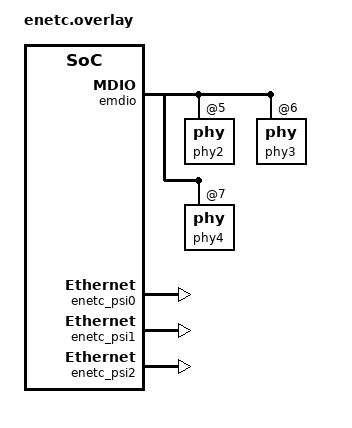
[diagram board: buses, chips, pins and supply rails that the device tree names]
/*
 * Copyright 2025 NXP
 *
 * SPDX-License-Identifier: Apache-2.0
 */

&emdio {
	status = "okay";

	phy2: phy@5 {
		status = "okay";
	};

	phy3: phy@6 {
		status = "okay";
	};

	phy4: phy@7 {
		status = "okay";
	};
};

&enetc_psi0 {
	ptp-clock = <&netc_ptp_clock0>;
	status = "okay";
};

&enetc_psi1 {
	ptp-clock = <&netc_ptp_clock0>;
	status = "okay";
};

&enetc_psi2 {
	ptp-clock = <&netc_ptp_clock0>;
	status = "okay";
};

&netc_ptp_clock0 {
	status = "okay";
};
